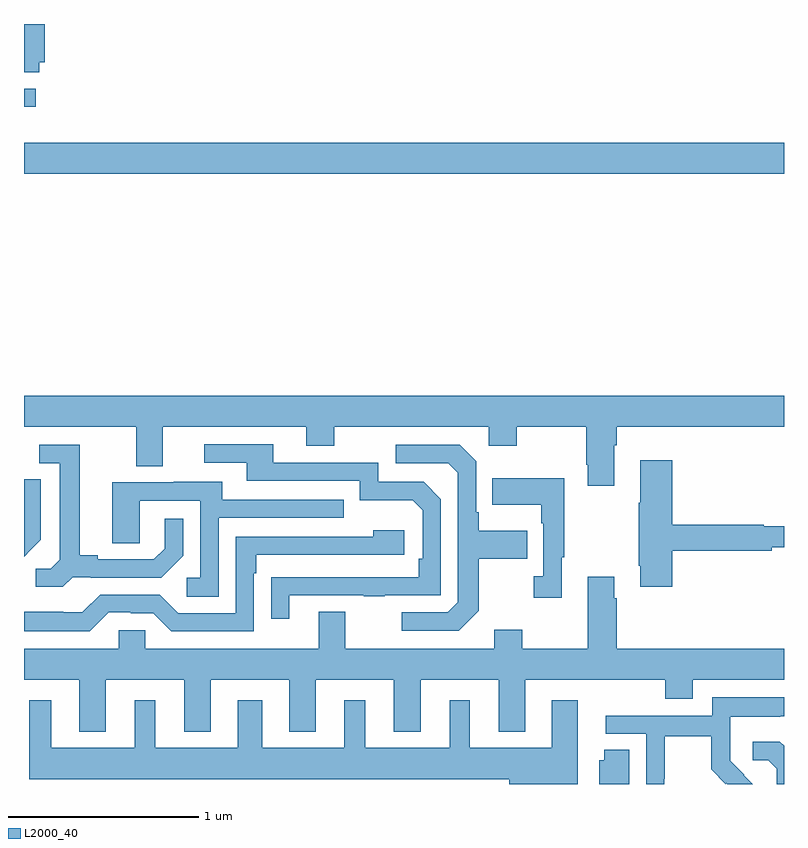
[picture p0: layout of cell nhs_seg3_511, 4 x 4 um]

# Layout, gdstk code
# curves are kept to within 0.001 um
import gdstk
lib = gdstk.Library(unit=1e-6, precision=1e-09)
def R(c, l, rs):  # rectangles x0, y0, x1, y1
    for r in rs: c.add(gdstk.rectangle(r[:2], r[2:], *l))
def P(c, l, *ps):  # polygons
    for p in ps: c.add(gdstk.Polygon(p, *l))
L2000_40 = (2000, 40)

nhs_seg3_511 = lib.new_cell('nhs_seg3_511')
R(nhs_seg3_511, L2000_40, [(137,671.612,141,671.776), (137,671.964,137.062,672.06)])
P(nhs_seg3_511, L2000_40, [(137.081,672.198),(137.108,672.198),(137.108,672.4),(137,672.4),(137,672.145),(137.081,672.145)],
  [(140.107,670.184),(140.12,670.184),(140.12,670.28),(141,670.28),(141,670.444),(137,670.444),(137,670.28),(137.591,670.28),(137.591,670.072),(137.731,670.072),(137.731,670.28),(138.485,670.28),(138.485,670.181),(138.633,670.181),(138.633,670.28),(139.446,670.28),(139.446,670.181),(139.593,670.181),(139.593,670.28),(139.96,670.28),(139.96,670.081),(139.967,670.081),(139.967,669.969),(140.107,669.969)],
  [(138.397,669.393),(138.787,669.393),(138.787,669.388),(138.899,669.388),(138.899,669.393),(139.194,669.393),(139.194,669.9),(139.104,669.99),(138.864,669.99),(138.864,670.092),(138.313,670.092),(138.313,670.188),(137.949,670.188),(137.949,670.092),(138.173,670.092),(138.173,669.996),(138.768,669.996),(138.768,669.893),(139.045,669.893),(139.098,669.84),(139.098,669.586),(139.078,669.586),(139.078,669.489),(138.301,669.488),(138.301,669.27),(138.397,669.27)],
  [(139.393,669.313),(139.393,669.586),(139.649,669.586),(139.649,669.733),(139.393,669.733),(139.393,669.829),(139.38,669.829),(139.38,670.098),(139.293,670.185),(138.957,670.185),(138.957,670.089),(139.233,670.089),(139.284,670.038),(139.284,669.357),(139.23,669.303),(138.987,669.303),(138.987,669.207),(139.287,669.207)],
  [(137.256,669.489),(137.35,669.489),(137.35,669.486),(137.722,669.486),(137.838,669.602),(137.838,669.796),(137.741,669.796),(137.741,669.639),(137.684,669.582),(137.389,669.582),(137.389,669.605),(137.293,669.605),(137.293,670.185),(137.079,670.185),(137.079,670.089),(137.189,670.089),(137.189,669.581),(137.142,669.534),(137.061,669.534),(137.061,669.437),(137.204,669.437)],
  [(140.411,669.628),(140.936,669.628),(140.936,669.647),(141,669.647),(141,669.757),(140.894,669.757),(140.894,669.764),(140.411,669.764),(140.411,670.105),(140.243,670.105),(140.243,669.881),(140.236,669.881),(140.236,669.55),(140.243,669.55),(140.243,669.438),(140.411,669.438)],
  [(139.831,669.593),(139.843,669.593),(139.843,670.009),(139.465,670.009),(139.465,669.869),(139.722,669.869),(139.722,669.773),(139.734,669.773),(139.734,669.494),(139.683,669.494),(139.683,669.381),(139.831,669.381)],
  [(137.016,669.612),(137.015,669.613),(137.088,669.686),(137.088,670.004),(137,670.004),(137,669.596)],
  [(138.024,669.801),(138.683,669.801),(138.683,669.897),(138.043,669.897),(138.043,669.991),(137.789,669.991),(137.789,669.987),(137.465,669.987),(137.465,669.667),(137.61,669.667),(137.61,669.891),(137.928,669.891),(137.928,669.486),(137.856,669.486),(137.856,669.385),(138.024,669.385)],
  [(137.445,669.303),(137.561,669.303),(137.561,669.3),(137.679,669.3),(137.775,669.204),(138.21,669.204),(138.21,669.509),(138.223,669.509),(138.223,669.606),(139,669.606),(139,669.736),(138.839,669.736),(138.839,669.702),(138.114,669.702),(138.114,669.3),(137.811,669.3),(137.715,669.396),(137.4,669.396),(137.307,669.303),(137.207,669.303),(137.207,669.307),(137,669.307),(137,669.203),(137.345,669.203)],
  [(137.431,668.948),(137.843,668.948),(137.843,668.675),(137.983,668.675),(137.983,668.948),(138.395,668.948),(138.395,668.675),(138.535,668.675),(138.535,668.948),(138.947,668.948),(138.947,668.675),(139.087,668.675),(139.087,668.948),(139.499,668.948),(139.499,668.675),(139.639,668.675),(139.639,668.948),(140.374,668.948),(140.374,668.849),(140.521,668.849),(140.521,668.948),(141,668.948),(141,669.112),(140.12,669.112),(140.12,669.377),(140.107,669.377),(140.107,669.49),(139.967,669.49),(139.967,669.112),(139.623,669.112),(139.623,669.211),(139.475,669.211),(139.475,669.112),(138.691,669.112),(138.691,669.307),(138.551,669.307),(138.551,669.112),(137.637,669.112),(137.637,669.21),(137.499,669.21),(137.499,669.112),(137,669.112),(137,668.948),(137.291,668.948),(137.291,668.675),(137.431,668.675)],
  [(140.37,668.428),(140.373,668.428),(140.373,668.652),(140.617,668.652),(140.617,668.477),(140.694,668.4),(140.697,668.403),(140.7,668.4),(140.836,668.4),(140.716,668.522),(140.716,668.619),(140.718,668.619),(140.718,668.753),(140.981,668.753),(140.981,668.757),(141,668.757),(141,668.857),(140.622,668.857),(140.622,668.76),(140.061,668.76),(140.061,668.664),(140.274,668.664),(140.274,668.4),(140.37,668.4)],
  [(139.915,668.842),(139.778,668.842),(139.778,668.59),(139.345,668.59),(139.345,668.842),(139.241,668.842),(139.241,668.59),(138.796,668.59),(138.796,668.842),(138.686,668.842),(138.686,668.59),(138.253,668.59),(138.253,668.842),(138.125,668.842),(138.125,668.59),(137.692,668.59),(137.692,668.842),(137.582,668.842),(137.582,668.59),(137.143,668.59),(137.143,668.842),(137.027,668.842),(137.027,668.426),(139.553,668.426),(139.553,668.4),(139.915,668.4)],
  [(141,668.601),(140.978,668.623),(140.835,668.623),(140.835,668.526),(140.916,668.526),(140.963,668.479),(140.963,668.4),(141,668.4)],
  [(140.185,668.579),(140.054,668.579),(140.054,668.526),(140.027,668.526),(140.027,668.4),(140.185,668.4)])

lib.write_gds('nhs_seg3_511.gds')
